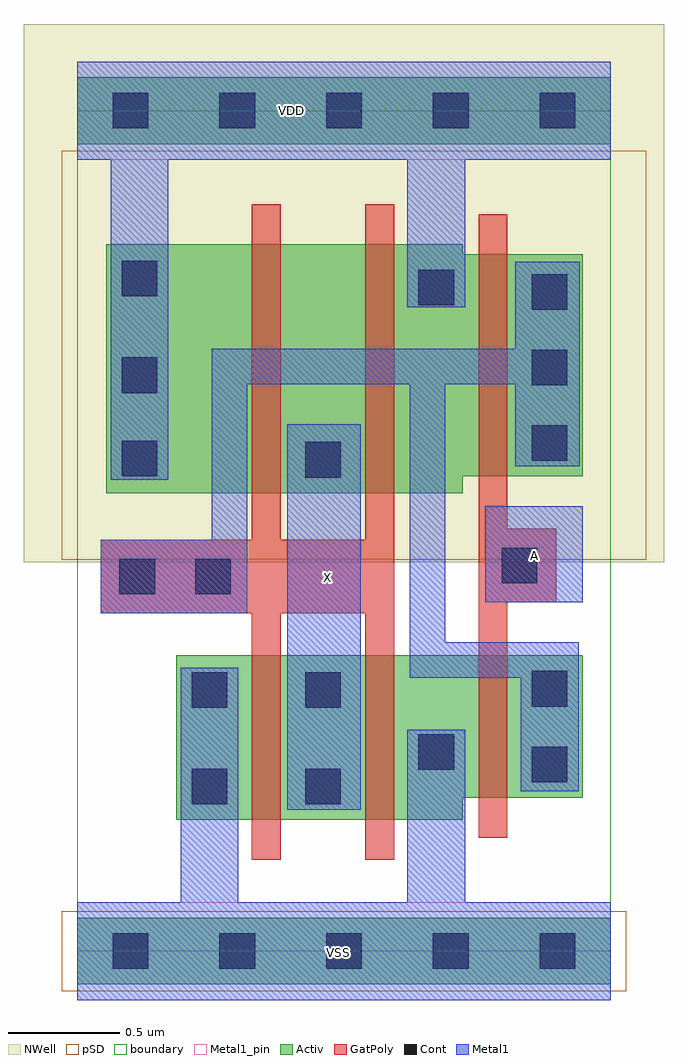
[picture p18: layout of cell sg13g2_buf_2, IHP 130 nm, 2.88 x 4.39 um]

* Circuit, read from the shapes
.subckt sg13g2_buf_2 A VDD VSS X
XM1 X n1 VSS VSS sg13_lv_nmos w=0.74u l=0.13u m=2
XM2 n1 A VSS VSS sg13_lv_nmos w=0.64u l=0.13u
XM3 X n1 VDD VDD sg13_lv_pmos w=1.12u l=0.13u m=2
XM4 n1 A VDD VDD sg13_lv_pmos w=1u l=0.13u
.ends

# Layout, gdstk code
import gdstk
lib = gdstk.Library(unit=1e-6, precision=1e-09)
def R(c, l, rs):  # rectangles x0, y0, x1, y1
    for r in rs: c.add(gdstk.rectangle(r[:2], r[2:], *l))
def A(c, l, x, y, w, h, nx, ny, dx, dy):  # array of equal rectangles
    R(c, l, [(x+i*dx, y+j*dy, x+i*dx+w, y+j*dy+h) for i in range(nx) for j in range(ny)])
def P(c, l, *ps):  # polygons
    for p in ps: c.add(gdstk.Polygon(p, *l))
Activ = (1, 0)
GatPoly = (5, 0)
Cont = (6, 0)
Metal1 = (8, 0)
Metal1_pin = (8, 2)
pSD = (14, 0)
NWell = (31, 0)
boundary = (189, 4)

sg13g2_buf_2 = lib.new_cell('sg13g2_buf_2')
R(sg13g2_buf_2, Activ, [(0,-0.15,2.4,0.15), (0,3.63,2.4,3.93)])
P(sg13g2_buf_2, Activ, [(0.445,0.59),(0.445,1.33),(2.275,1.33),(2.275,0.69),(1.735,0.69),(1.735,0.59)],
  [(0.13,2.06),(0.13,3.18),(1.735,3.18),(1.735,3.135),(2.275,3.135),(2.275,2.135),(1.735,2.135),(1.735,2.06)])
P(sg13g2_buf_2, GatPoly, [(0.785,0.41),(0.785,1.52),(0.105,1.52),(0.105,1.85),(0.785,1.85),(0.785,3.36),(0.915,3.36),(0.915,1.85),(1.295,1.85),(1.295,3.36),(1.425,3.36),(1.425,0.41),(1.295,0.41),(1.295,1.52),(0.915,1.52),(0.915,0.41)],
  [(1.805,0.51),(1.805,3.315),(1.935,3.315),(1.935,1.9),(2.155,1.9),(2.155,1.57),(1.935,1.57),(1.935,0.51)])
A(sg13g2_buf_2, Cont, 0.16, -0.08, 0.16, 0.16, 3, 1, 0.48, 0)
A(sg13g2_buf_2, Cont, 2.045, 2.205, 0.16, 0.16, 1, 3, 0, 0.34)
R(sg13g2_buf_2, Cont, [(0.16,-0.08,0.32,0.08), (1.12,-0.08,1.28,0.08), (1.6,-0.08,1.76,0.08), (1.6,-0.08,1.76,0.08), (2.08,-0.08,2.24,0.08), (2.08,-0.08,2.24,0.08), (0.515,0.66,0.675,0.82), (1.025,0.66,1.185,0.82), (2.045,0.76,2.205,0.92), (1.535,0.815,1.695,0.975), (0.515,1.095,0.675,1.255), (1.025,1.095,1.185,1.255), (2.045,1.1,2.205,1.26), (0.19,1.605,0.35,1.765), (0.53,1.605,0.69,1.765), (1.91,1.655,2.07,1.815), (1.025,2.13,1.185,2.29), (0.2,2.135,0.36,2.295), (0.2,2.51,0.36,2.67), (1.535,2.905,1.695,3.065), (0.2,2.945,0.36,3.105), (0.16,3.7,0.32,3.86), (0.16,3.7,0.32,3.86), (0.64,3.7,0.8,3.86), (0.64,3.7,0.8,3.86), (1.12,3.7,1.28,3.86), (1.12,3.7,1.28,3.86), (1.6,3.7,1.76,3.86), (1.6,3.7,1.76,3.86), (2.08,3.7,2.24,3.86), (2.08,3.7,2.24,3.86)])
R(sg13g2_buf_2, Metal1, [(0.945,0.635,1.275,2.37), (1.835,1.57,2.275,2)])
P(sg13g2_buf_2, Metal1, [(0,-0.22),(0,0.22),(0.465,0.22),(0.465,1.275),(0.725,1.275),(0.725,0.22),(1.485,0.22),(1.485,0.995),(1.745,0.995),(1.745,0.22),(2.4,0.22),(2.4,-0.22)],
  [(1.995,0.72),(1.995,1.23),(1.495,1.23),(1.495,2.55),(0.765,2.55),(0.765,1.52),(0.105,1.52),(0.105,1.85),(0.605,1.85),(0.605,2.71),(1.97,2.71),(1.97,3.1),(2.26,3.1),(2.26,2.18),(1.97,2.18),(1.97,2.55),(1.655,2.55),(1.655,1.39),(2.255,1.39),(2.255,0.72)],
  [(0.15,2.12),(0.15,3.56),(0,3.56),(0,4),(2.4,4),(2.4,3.56),(1.745,3.56),(1.745,2.895),(1.485,2.895),(1.485,3.56),(0.41,3.56),(0.41,2.12)])
R(sg13g2_buf_2, Metal1_pin, [(0,-0.22,2.4,0.22), (0.945,0.635,1.275,2.37), (1.835,1.57,2.275,2), (0,3.56,2.4,4)])
R(sg13g2_buf_2, pSD, [(-0.07,-0.18,2.47,0.18), (-0.07,1.76,2.56,3.6)])
R(sg13g2_buf_2, NWell, [(-0.24,1.75,2.64,4.17)])
R(sg13g2_buf_2, boundary, [(0,0,2.4,3.78)])
sg13g2_buf_2.add(gdstk.Label('A', (2.055,1.78), layer=8, texttype=25))
sg13g2_buf_2.add(gdstk.Label('X', (1.125,1.68), layer=8, texttype=25))
sg13g2_buf_2.add(gdstk.Label('VDD', (0.965,3.78), layer=8, texttype=25))
sg13g2_buf_2.add(gdstk.Label('VSS', (1.175,-0.005), layer=8, texttype=25))

lib.write_gds('sg13g2_buf_2.gds')
